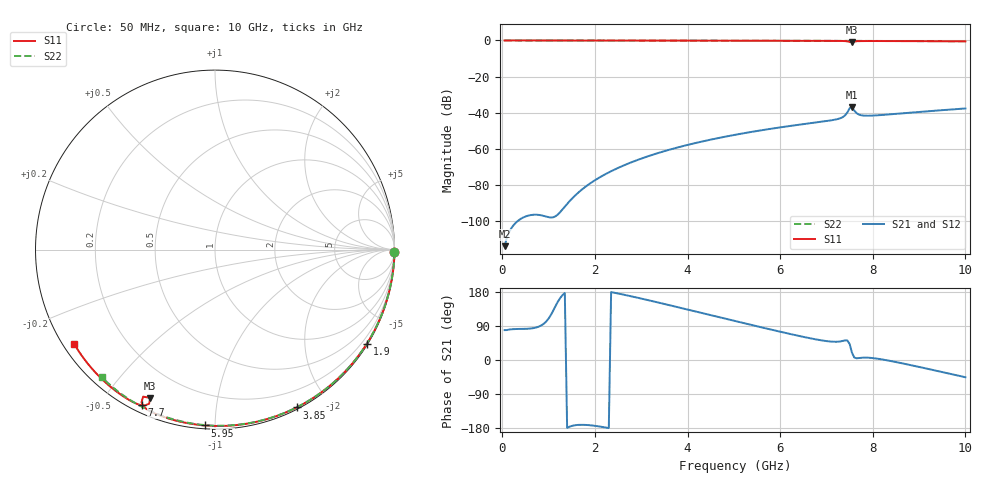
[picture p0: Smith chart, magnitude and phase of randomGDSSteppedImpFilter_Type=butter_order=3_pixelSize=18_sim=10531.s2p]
! freq	dB(S11)	phase(S11)	dB(S12)	phase(S12)
!  dB(S21)	phase(S21)	dB(S22)	phase(S22)
!S-par simulation data
#  GHz  S  DB  R 50
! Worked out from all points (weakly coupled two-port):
!   200 points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, 50 MHz to 10 GHz, reference 50 ohm
!   highest |S21| = -36.97 dB at 7.55 GHz (marker M1); lowest = -113.9 dB at 50 MHz (marker M2)
!   lowest |S11| = -0.9 dB at 7.55 GHz (marker M3), VSWR 19.23, Z = 3.71 - j32.6 ohm
!   |S11| at or under -10 dB: nowhere
!   |S22| runs from -0.4 to 0.0 dB; largest |S21 - S12| = 0
!   S11 on the Smith chart (normalised r, x): 50 MHz: open; 1.9 GHz: 0.03, -3.51; 3.85 GHz: 0.02, -1.64; 5.95 GHz: 0.02, -0.94; 7.7 GHz: 0.03, -0.63; 10 GHz: 0.03, -0.30
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0.05  -0.00 -0.9  -113.89 78.9  -113.89 78.9  -0.00 -0.8
0.9  -0.02 -15.2  -97.17 96.1  -97.17 96.1  -0.02 -13.6
1.75  -0.04 -29.3  -81.90 -171.0  -81.90 -171.0  -0.03 -26.2
1.85  -0.04 -31.0  -79.97 -171.7  -79.97 -171.7  -0.04 -27.7
1.9  -0.04 -31.8  -79.08 -172.2  -79.08 -172.2  -0.04 -28.4
2.2  -0.05 -36.7  -74.40 -177.4  -74.40 -177.4  -0.04 -32.8
2.55  -0.05 -42.3  -69.99 174.3  -69.99 174.3  -0.05 -37.9
3.4  -0.07 -55.7  -62.04 150.7  -62.04 150.7  -0.07 -49.9
3.85  -0.09 -62.6  -58.81 137.6  -58.81 137.6  -0.08 -56.2
5.05  -0.12 -80.4  -52.12 102.1  -52.12 102.1  -0.11 -72.3
5.95  -0.16 -93.2  -48.31 76.1  -48.31 76.1  -0.14 -83.8
6.7  -0.20 -103.7  -45.65 56.1  -45.65 56.1  -0.18 -93.1
7.3  -0.27 -112.5  -43.06 49.0  -43.06 49.0  -0.21 -100.4
7.4  -0.36 -114.5  -41.52 51.7  -41.52 51.7  -0.22 -101.6
7.45  -0.49 -115.7  -39.89 51.6  -39.89 51.6  -0.23 -102.1
7.5  -0.80 -116.1  -37.54 42.4  -37.54 42.4  -0.23 -102.7
7.55  -0.90 -113.6  -36.97 19.6  -36.97 19.6  -0.23 -103.3
7.65  -0.43 -114.1  -40.25 4.6  -40.25 4.6  -0.23 -104.5
7.7  -0.37 -115.2  -41.02 5.1  -41.02 5.1  -0.24 -105.1
7.9  -0.31 -118.5  -41.68 6.2  -41.68 6.2  -0.25 -107.5
8.35  -0.33 -124.7  -40.95 -1.7  -40.95 -1.7  -0.29 -112.7
10  -0.50 -146.2  -37.65 -45.5  -37.65 -45.5  -0.44 -131.5
